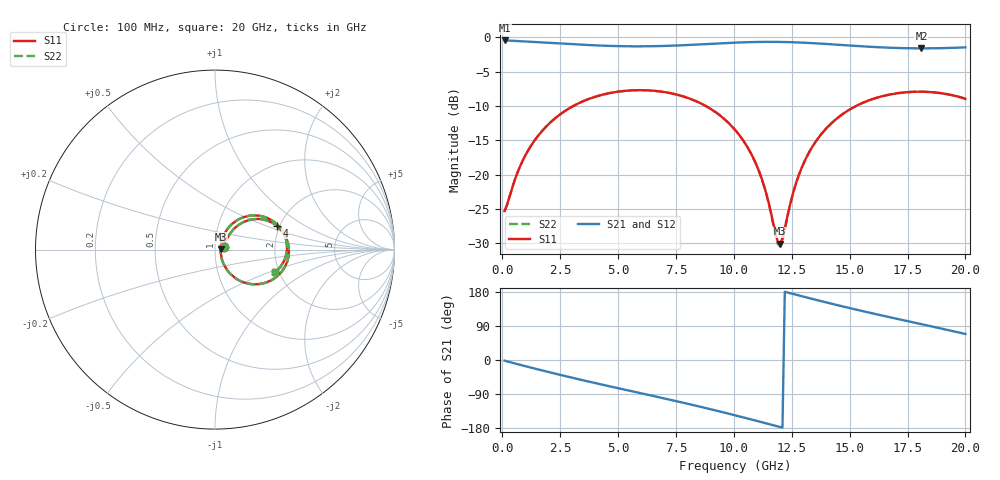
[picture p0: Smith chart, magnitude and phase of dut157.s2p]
! Touchstone file exported from HFSS 2026.1.0
!  File:  C:/ffzhzh/LocalFiles/Ansys_Project_Files/temp_train_TSV_RDL_157_1783053028_36532.aedt
!  Generated:  12:41:57 PM Jul  3, 2026
!  Design:  TSV_RDL
!  Project:  temp_train_TSV_RDL_157_1783053028_36532
! Variables:
!  h_bsmrdl = 2.67um
!  h_ox = 20um
!  h_rdl = 5um
!  h_sub = 87.78um
!  h_tmrdl = 2um
!  h_tsv = 87.78um
!  h_via = 3um
!  l_bsmrdl = 127.82um
!  l_sub = 4879.29um
!  l_tmrdl = 999.92um
!  m_sub = 200um
!  pitch = 25.78um
!  r_tsv = 3.32um
!  s_tmrdl = 10um
!  w_bsmrdl = 16.63um
!  w_sub = 500um
!  w_tmrdl = 15.42um
!  x_tsv_center1 = 1007.63um
!  x_tsv_center2 = 1152.08um
!  x_tsv_center3 = 2167.42um
!  x_tsv_center4 = 2311.87um
!  x_tsv_center5 = 3327.21um
!  x_tsv_center6 = 3471.66um
# GHz S MA R 50.000000
! Terminal data exported
! Port[1] = TM_RDL1_1_T1
! Port[2] = TM_RDL5_1_T1
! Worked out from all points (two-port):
!   200 points, 100 MHz to 20 GHz, reference 50 ohm
!   highest |S21| = -0.47 dB at 100 MHz (marker M1); lowest = -1.6 dB at 18.1 GHz (marker M2)
!   |S21| within 3 dB of the highest: start of sweep to end of sweep
!   lowest |S11| = -30.1 dB at 12 GHz (marker M3), VSWR 1.06, Z = 53.2 + j0.291 ohm
!   |S11| at or under -10 dB: start of sweep to 3.071 GHz; 8.785 GHz to 15.28 GHz (6.496 GHz wide, 54 % of centre)
!   |S22| runs from -30.4 to -7.7 dB; largest |S21 - S12| = 1.6e-14
!   S11 on the Smith chart (normalised r, x): 100 MHz: 1.11, +0.03; 4 GHz: 1.92, +0.60; 20 GHz: 1.90, -0.55
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0.1  0.05436 13.2  0.9474 -1.7  0.9474 -1.7  0.05436 13.2
! Gamma 0 0 0 0
! Port Impedance 50 0 50 0
0.7  0.108 45.5  0.9372 -11.7  0.9372 -11.7  0.108 45.5
1.4  0.1779 46.9  0.9234 -22.6  0.9234 -22.6  0.1779 46.9
2.3  0.2588 40.1  0.9051 -36.3  0.9051 -36.3  0.2588 40.1
3.5  0.3427 27.2  0.8813 -53.7  0.8813 -53.7  0.3427 27.1
4  0.3682 21.3  0.873 -60.7  0.873 -60.7  0.3682 21.3
5.4  0.4087 4.7  0.8592 -79.8  0.8592 -79.8  0.4087 4.6
6.8  0.4036 -12.3  0.8623 -98.8  0.8623 -98.8  0.4036 -12.4
8.5  0.3347 -33.6  0.8861 -122.6  0.8861 -122.6  0.3346 -33.7
10.1  0.2074 -53.0  0.914 -146.6  0.914 -146.6  0.2073 -53.3
10.7  0.1469 -58.3  0.9213 -156.0  0.9213 -156.0  0.1468 -58.8
11.1  0.1046 -59.3  0.9243 -162.4  0.9243 -162.4  0.1043 -59.9
11.4  0.073 -55.9  0.9253 -167.2  0.9253 -167.2  0.07255 -56.8
11.9  0.03243 -14.2  0.9247 -175.2  0.9247 -175.2  0.03125 -14.9
12  0.03142 5.0  0.9242 -176.8  0.9242 -176.8  0.03018 5.1
12.7  0.08829 58.1  0.9174 172.0  0.9174 172.0  0.08779 58.9
13.4  0.1606 57.2  0.9058 161.0  0.9058 161.0  0.1603 57.6
14  0.2178 51.4  0.8932 151.8  0.8932 151.8  0.2176 51.7
14.8  0.2835 42.1  0.8749 139.9  0.8749 139.9  0.2833 42.3
16.7  0.3819 18.9  0.8392 113.3  0.8392 113.3  0.3817 19.0
18.1  0.4015 2.0  0.8299 94.6  0.8299 94.6  0.4013 2.1
20  0.3566 -20.7  0.8439 68.7  0.8439 68.7  0.3564 -20.7
